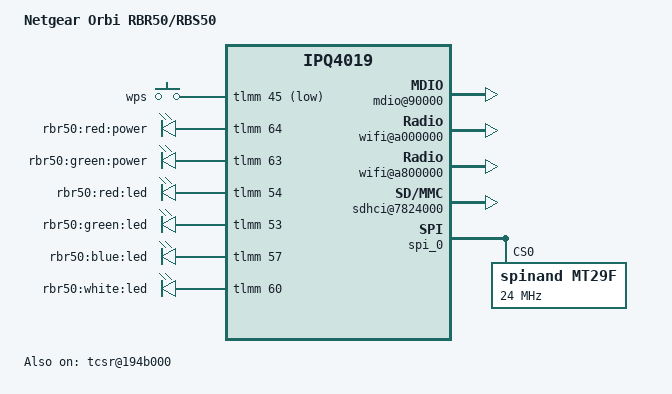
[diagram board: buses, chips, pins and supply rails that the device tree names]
/* Copyright (c) 2015, The Linux Foundation. All rights reserved.
 *
 * Permission to use, copy, modify, and/or distribute this software for any
 * purpose with or without fee is hereby granted, provided that the above
 * copyright notice and this permission notice appear in all copies.
 *
 * THE SOFTWARE IS PROVIDED "AS IS" AND THE AUTHOR DISCLAIMS ALL WARRANTIES
 * WITH REGARD TO THIS SOFTWARE INCLUDING ALL IMPLIED WARRANTIES OF
 * MERCHANTABILITY AND FITNESS. IN NO EVENT SHALL THE AUTHOR BE LIABLE FOR
 * ANY SPECIAL, DIRECT, INDIRECT, OR CONSEQUENTIAL DAMAGES OR ANY DAMAGES
 * WHATSOEVER RESULTING FROM LOSS OF USE, DATA OR PROFITS, WHETHER IN AN
 * ACTION OF CONTRACT, NEGLIGENCE OR OTHER TORTIOUS ACTION, ARISING OUT OF
 * OR IN CONNECTION WITH THE USE OR PERFORMANCE OF THIS SOFTWARE.
 *
 */

#include "qcom-ipq4019-ap.dk01.1.dtsi"
#include "qcom-ipq4019-bus.dtsi"
#include <dt-bindings/gpio/gpio.h>
#include <dt-bindings/input/input.h>
#include <dt-bindings/soc/qcom,tcsr.h>

/ {
	model = "Netgear Orbi RBR50/RBS50";
	compatible = "netgear,rbr50", "qcom,ipq4019";

	reserved-memory {
		#address-cells = <0x1>;
		#size-cells = <0x1>;
		ranges;

		rsvd1@87000000 {
			reg = <0x87000000 0x500000>;
			no-map;
		};

		wifi_dump@87500000 {
			reg = <0x87500000 0x600000>;
			no-map;
		};

		rsvd2@87B00000 {
			reg = <0x87b00000 0x500000>;
			no-map;
		};
	};
/*
	This also works. Maybe it could be smaller still.

	reserved-memory {
		#address-cells = <0x1>;
		#size-cells = <0x1>;
		ranges;

		rsvd1@87E00000 {
			reg = <0x87e00000 0x200000>;
			no-map;
		};
	};
*/

	soc {
		tcsr@194b000 {
			/* select hostmode */
			compatible = "qcom,tcsr";
			reg = <0x194b000 0x100>;
			qcom,usb-hsphy-mode-select = <TCSR_USB_HSPHY_HOST_MODE>;
			status = "ok";
		};

		ess_tcsr@1953000 {
			compatible = "qcom,tcsr";
			reg = <0x1953000 0x1000>;
			qcom,ess-interface-select = <TCSR_ESS_PSGMII>;
		};


		tcsr@1949000 {
			compatible = "qcom,tcsr";
			reg = <0x1949000 0x100>;
			qcom,wifi_glb_cfg = <TCSR_WIFI_GLB_CFG>;
		};

		tcsr@1957000 {
			compatible = "qcom,tcsr";
			reg = <0x1957000 0x100>;
			qcom,wifi_noc_memtype_m0_m2 = <TCSR_WIFI_NOC_MEMTYPE_M0_M2>;
		};

		counter@4a1000 {
			compatible = "qcom,qca-gcnt";
			reg = <0x4a1000 0x4>;
		};

		mdio@90000 {
			status = "okay";
		};

		qca8075: ess-switch@c000000 {
			status = "okay";
		};

		ess-psgmii@98000 {
			status = "okay";
		};

		edma@c080000 {
			status = "okay";
		};

		wifi@a000000 {
			status = "okay";
		};

		wifi@a800000 {
			status = "okay";
		};

		cryptobam: dma@8e04000 {
			status = "okay";
		};

		crypto@8e3a000 {
			status = "okay";
		};

		sdhci@7824000 {
			status = "okay";
		};
	};

	gpio-keys {
		compatible = "gpio-keys";

		wps {
			label = "wps";
			gpios = <&tlmm 45 GPIO_ACTIVE_LOW>;
			linux,code = <KEY_WPS_BUTTON>;
		};
	};

	aliases {
		led-boot = &status;
		led-failsafe = &panic;
		led-running = &status;
		led-upgrade = &status;
	};

	gpio-leds {
		compatible = "gpio-leds";

		panic: power_red {
			label = "rbr50:red:power";
			gpios = <&tlmm 64 GPIO_ACTIVE_HIGH>;
			panic-indicator;
		};

		status: power_green {
			label = "rbr50:green:power";
			gpios = <&tlmm 63 GPIO_ACTIVE_HIGH>;
		};

		led_red {
			label = "rbr50:red:led";
			gpios = <&tlmm 54 GPIO_ACTIVE_HIGH>;
		};

		led_green {
			label = "rbr50:green:led";
			gpios = <&tlmm 53 GPIO_ACTIVE_HIGH>;
		};

		led_blue {
			label = "rbr50:blue:led";
			gpios = <&tlmm 57 GPIO_ACTIVE_HIGH>;
		};

		led_white {
			label = "rbr50:white:led";
			gpios = <&tlmm 60 GPIO_ACTIVE_HIGH>;
		};
	};
};

&tlmm {
/*
		enable-usb-power {
				gpio-hog;
				line-name = "enable USB3 power";
				gpios = <46 GPIO_ACTIVE_HIGH>;
				output-high;
		};
*/
};

&spi_0 { /* BLSP1 QUP1 */
	status = "ok";

	mx25l25635e@0 {
		status = "disabled";
	};

	mt29f@0 {
		#address-cells = <1>;
		#size-cells = <0>;
		compatible = "spinand,mt29f";
		reg = <0>;
		spi-max-frequency = <24000000>;

/*
		partitions {
			compatible = "fixed-partitions";
			#address-cells = <1>;
			#size-cells = <1>;

			partition0@0 {
				label = "ubi";
				reg = <0x00000000 0x08000000>;
			};
		};
*/
	};
};
